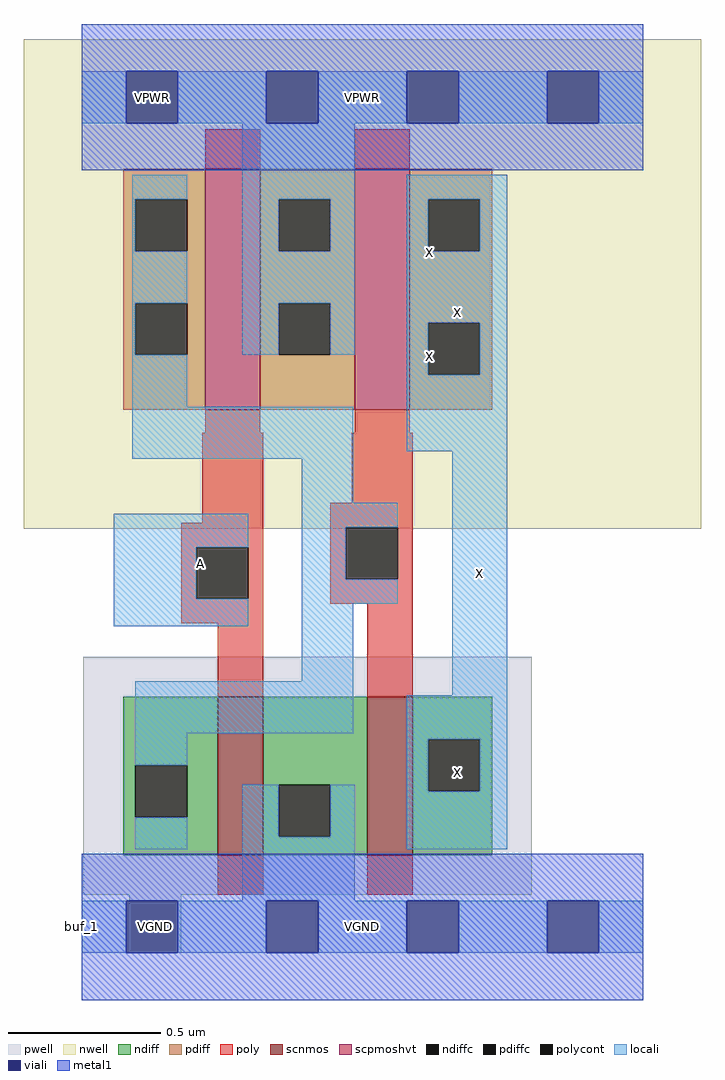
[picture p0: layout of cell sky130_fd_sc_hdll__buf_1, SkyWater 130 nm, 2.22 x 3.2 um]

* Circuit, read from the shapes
.subckt sky130_fd_sc_hdll__buf_1 A VGND VNB VPB VPWR X
XM1 VGND A n1 VNB sky130_fd_pr__nfet_01v8 w=0.52 l=0.15
XM2 X n1 VGND VNB sky130_fd_pr__nfet_01v8 w=0.52 l=0.15
XM3 VPWR A n1 VPB sky130_fd_pr__pfet_01v8_hvt w=0.79 l=0.18
XM4 X n1 VPWR VPB sky130_fd_pr__pfet_01v8_hvt w=0.79 l=0.18
.ends

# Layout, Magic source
magic
tech sky130A
magscale 1 2
<< nwell >>
rect -38 261 406 582
<< pwell >>
rect 1 21 295 177
rect 31 -17 65 21
<< scnmos >>
rect 89 47 119 151
rect 187 47 217 151
<< scpmoshvt >>
rect 81 339 117 497
rect 179 339 215 497
<< ndiff >>
rect 27 106 89 151
rect 27 72 35 106
rect 69 72 89 106
rect 27 47 89 72
rect 119 93 187 151
rect 119 59 129 93
rect 163 59 187 93
rect 119 47 187 59
rect 217 123 269 151
rect 217 89 227 123
rect 261 89 269 123
rect 217 47 269 89
<< pdiff >>
rect 27 477 81 497
rect 27 443 35 477
rect 69 443 81 477
rect 27 409 81 443
rect 27 375 35 409
rect 69 375 81 409
rect 27 339 81 375
rect 117 477 179 497
rect 117 443 129 477
rect 163 443 179 477
rect 117 409 179 443
rect 117 375 129 409
rect 163 375 179 409
rect 117 339 179 375
rect 215 477 269 497
rect 215 443 227 477
rect 261 443 269 477
rect 215 396 269 443
rect 215 362 227 396
rect 261 362 269 396
rect 215 339 269 362
<< ndiffc >>
rect 35 72 69 106
rect 129 59 163 93
rect 227 89 261 123
<< pdiffc >>
rect 35 443 69 477
rect 35 375 69 409
rect 129 443 163 477
rect 129 375 163 409
rect 227 443 261 477
rect 227 362 261 396
<< poly >>
rect 81 497 117 523
rect 179 497 215 523
rect 81 324 117 339
rect 179 324 215 339
rect 79 265 119 324
rect 177 278 217 324
rect 65 249 119 265
rect 65 215 75 249
rect 109 215 119 249
rect 65 199 119 215
rect 163 262 217 278
rect 163 228 173 262
rect 207 228 217 262
rect 163 212 217 228
rect 89 151 119 199
rect 187 151 217 212
rect 89 21 119 47
rect 187 21 217 47
<< polycont >>
rect 75 215 109 249
rect 173 228 207 262
<< locali >>
rect 0 527 29 561
rect 63 527 121 561
rect 155 527 213 561
rect 247 527 305 561
rect 339 527 368 561
rect 33 477 69 493
rect 33 443 35 477
rect 33 409 69 443
rect 33 375 35 409
rect 105 477 179 527
rect 105 443 129 477
rect 163 443 179 477
rect 105 409 179 443
rect 105 375 129 409
rect 163 375 179 409
rect 213 477 279 493
rect 213 443 227 477
rect 261 443 279 477
rect 213 396 279 443
rect 33 341 69 375
rect 213 362 227 396
rect 261 362 279 396
rect 33 307 178 341
rect 213 312 279 362
rect 144 278 178 307
rect 21 249 109 271
rect 21 215 75 249
rect 21 197 109 215
rect 144 262 207 278
rect 144 228 173 262
rect 144 212 207 228
rect 144 161 178 212
rect 35 127 178 161
rect 243 152 279 312
rect 35 106 69 127
rect 213 123 279 152
rect 35 51 69 72
rect 105 59 129 93
rect 163 59 179 93
rect 105 17 179 59
rect 213 89 227 123
rect 261 89 279 123
rect 213 51 279 89
rect 0 -17 29 17
rect 63 -17 121 17
rect 155 -17 213 17
rect 247 -17 305 17
rect 339 -17 368 17
<< viali >>
rect 29 527 63 561
rect 121 527 155 561
rect 213 527 247 561
rect 305 527 339 561
rect 29 -17 63 17
rect 121 -17 155 17
rect 213 -17 247 17
rect 305 -17 339 17
<< metal1 >>
rect 0 561 368 592
rect 0 527 29 561
rect 63 527 121 561
rect 155 527 213 561
rect 247 527 305 561
rect 339 527 368 561
rect 0 496 368 527
rect 0 17 368 48
rect 0 -17 29 17
rect 63 -17 121 17
rect 155 -17 213 17
rect 247 -17 305 17
rect 339 -17 368 17
rect 0 -48 368 -17
<< labels >>
flabel metal1 s 31 -17 65 17 0 FreeSans 200 0 0 0 VGND
port 2 nsew ground bidirectional
flabel metal1 s 29 527 63 561 0 FreeSans 200 0 0 0 VPWR
port 5 nsew power bidirectional
flabel locali s 29 527 63 561 0 FreeSans 200 0 0 0 VPWR
port 5 nsew power bidirectional
flabel locali s 31 -17 65 17 0 FreeSans 200 0 0 0 VGND
port 2 nsew ground bidirectional
flabel locali s 243 152 279 312 0 FreeSans 200 0 0 0 X
port 6 nsew signal output
flabel locali s 228 374 228 374 0 FreeSans 200 0 0 0 X
port 6 nsew
flabel locali s 228 442 228 442 0 FreeSans 200 0 0 0 X
port 6 nsew
flabel locali s 61 221 95 255 0 FreeSans 200 0 0 0 A
port 1 nsew signal input
flabel nwell s 29 527 63 561 0 FreeSans 200 0 0 0 VPB
port 4 nsew power bidirectional
flabel pwell s 31 -17 65 17 0 FreeSans 200 0 0 0 VNB
port 3 nsew ground bidirectional
rlabel comment s 0 0 0 0 4 buf_1
rlabel locali s 213 312 279 493 1 X
port 6 nsew signal output
rlabel locali s 213 51 279 152 1 X
port 6 nsew signal output
rlabel metal1 s 0 -48 368 48 1 VGND
port 2 nsew ground bidirectional
rlabel metal1 s 0 496 368 592 1 VPWR
port 5 nsew power bidirectional
<< properties >>
string LEFsite unithd
string LEFclass CORE
string FIXED_BBOX 0 0 368 544
string GDS_FILE $PDKPATH/libs.ref/sky130_fd_sc_hdll/gds/sky130_fd_sc_hdll.gds
string LEFsymmetry X Y R90
string GDS_END 1901722
string GDS_START 1897686
string LEFproperties maskLayoutSubType "abstract" prCellType "standard" originalViewName "layout"
<< end >>
